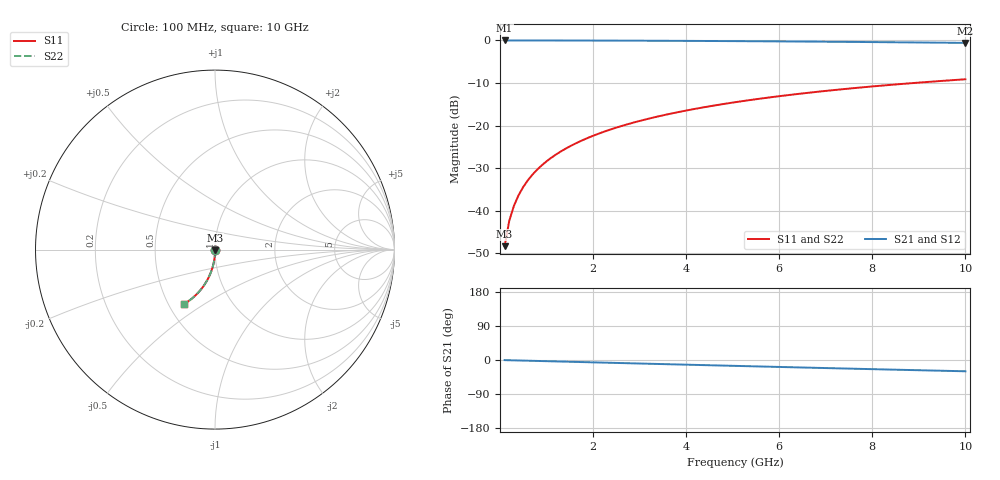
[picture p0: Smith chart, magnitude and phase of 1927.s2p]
# Hz S RI R 50.00
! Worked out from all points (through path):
!   100 points, 100 MHz to 10 GHz, reference 50 ohm
!   highest |S21| = 0.00 dB at 100 MHz (marker M1); lowest = -0.6 dB at 10 GHz (marker M2)
!   group delay of S21, straight-line fit = 8.3 ps
!   lowest |S11| = -48.3 dB at 100 MHz (marker M3), VSWR 1.01, Z = 50.1 - j0.382 ohm
!   |S11| at or under -10 dB: start of sweep to 8.881 GHz
!   |S22| runs from -48.3 to -9.1 dB; largest |S21 - S12| = 0
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1e8  0.000519 -0.00382  0.9994 -0.00541  0.9994 -0.00541  0.000519 -0.00382
2e8  0.000456 -0.00763  0.9994 -0.0108  0.9994 -0.0108  0.000456 -0.00763
3e8  0.000351 -0.0114  0.9992 -0.0162  0.9992 -0.0162  0.000351 -0.0114
4e8  0.000204 -0.0153  0.9991 -0.0216  0.9991 -0.0216  0.000204 -0.0153
5e8  1.63e-05 -0.0191  0.9989 -0.027  0.9989 -0.027  1.63e-05 -0.0191
6e8  -0.000213 -0.0229  0.9986 -0.0324  0.9986 -0.0324  -0.000213 -0.0229
7e8  -0.000484 -0.0267  0.9983 -0.0378  0.9983 -0.0378  -0.000484 -0.0267
8e8  -0.000796 -0.0305  0.998 -0.0432  0.998 -0.0432  -0.000796 -0.0305
9e8  -0.00115 -0.0343  0.9976 -0.0486  0.9976 -0.0486  -0.00115 -0.0343
1.1e9  -0.00198 -0.0419  0.9967 -0.0594  0.9967 -0.0594  -0.00198 -0.0419
1.4e9  -0.00353 -0.0532  0.9951 -0.0755  0.9951 -0.0755  -0.00353 -0.0532
1.8e9  -0.00616 -0.0682  0.9923 -0.0968  0.9923 -0.0968  -0.00616 -0.0682
2.1e9  -0.00855 -0.0793  0.9897 -0.1128  0.9897 -0.1128  -0.00855 -0.0793
2.5e9  -0.0123 -0.094  0.9858 -0.1338  0.9858 -0.1338  -0.0123 -0.094
2.9e9  -0.0166 -0.1085  0.9811 -0.1547  0.9811 -0.1547  -0.0166 -0.1085
3.4e9  -0.0229 -0.1263  0.9744 -0.1805  0.9744 -0.1805  -0.0229 -0.1263
4.2e9  -0.0349 -0.1538  0.9617 -0.2208  0.9617 -0.2208  -0.0349 -0.1538
5.1e9  -0.0509 -0.1831  0.9446 -0.2645  0.9446 -0.2645  -0.0509 -0.1831
5.9e9  -0.0672 -0.2075  0.9271 -0.3018  0.9271 -0.3018  -0.0672 -0.2075
6.7e9  -0.0853 -0.2303  0.9077 -0.3375  0.9077 -0.3375  -0.0853 -0.2303
8.4e9  -0.1285 -0.2724  0.8611 -0.4071  0.8611 -0.4071  -0.1285 -0.2724
1e10  -0.1736 -0.3039  0.8121 -0.4647  0.8121 -0.4647  -0.1736 -0.3039
